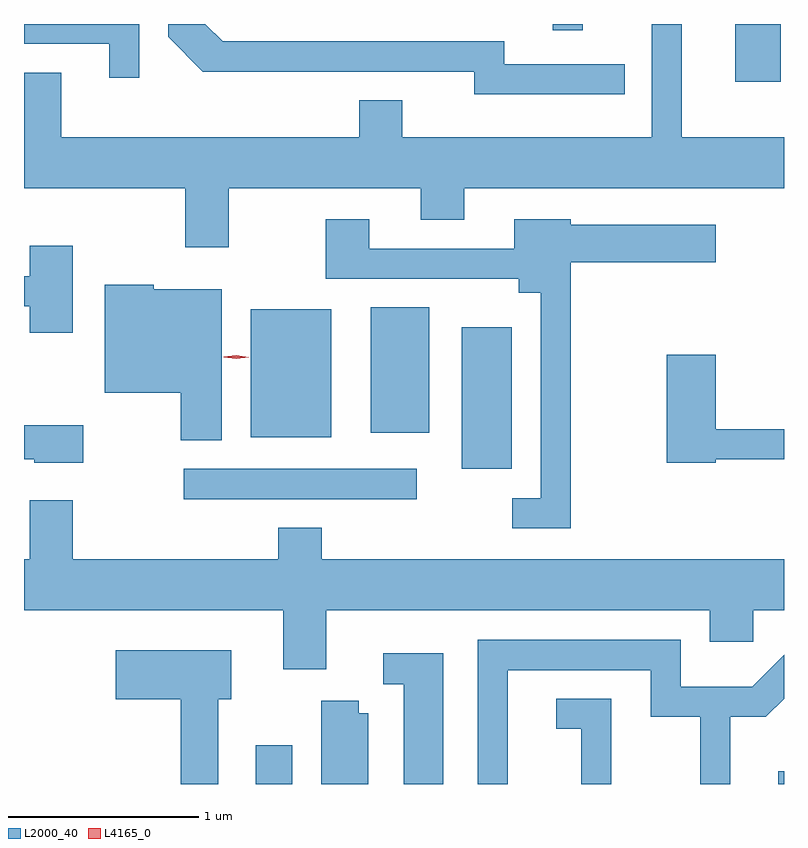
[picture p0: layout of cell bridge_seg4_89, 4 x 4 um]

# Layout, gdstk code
import gdstk
lib = gdstk.Library(unit=1e-6, precision=1e-09)
def R(c, l, rs):  # rectangles x0, y0, x1, y1
    for r in rs: c.add(gdstk.rectangle(r[:2], r[2:], *l))
def P(c, l, *ps):  # polygons
    for p in ps: c.add(gdstk.Polygon(p, *l))
L2000_40 = (2000, 40)
L4165_0 = (4165, 0)

bridge_seg4_89 = lib.new_cell('bridge_seg4_89')
R(bridge_seg4_89, L2000_40, [(1109.611,1338.221,1109.804,1338.424), (1112.361,1338.221,1112.392,1338.289), (1109.233,1339.721,1110.458,1339.879), (1110.696,1339.881,1110.959,1340.624), (1109.586,1340.046,1110.009,1340.719), (1110.216,1340.071,1110.524,1340.729), (1112.136,1341.916,1112.374,1342.221), (1111.176,1342.188,1111.334,1342.221)])
P(bridge_seg4_89, L2000_40, [(1109.469,1341.356),(1110.481,1341.356),(1110.481,1341.191),(1110.709,1341.191),(1110.709,1341.356),(1112.392,1341.356),(1112.392,1341.624),(1111.854,1341.624),(1111.854,1342.221),(1111.696,1342.221),(1111.696,1341.624),(1110.384,1341.624),(1110.384,1341.819),(1110.156,1341.819),(1110.156,1341.624),(1108.589,1341.624),(1108.589,1341.964),(1108.392,1341.964),(1108.392,1341.356),(1109.241,1341.356),(1109.241,1341.046),(1109.469,1341.046)],
  [(1108.999,1342.221),(1108.392,1342.221),(1108.392,1342.116),(1108.841,1342.116),(1108.841,1341.938),(1108.999,1341.938)],
  [(1111.553,1342.009),(1110.919,1342.009),(1110.919,1342.129),(1109.437,1342.129),(1109.345,1342.221),(1109.151,1342.221),(1109.151,1342.154),(1109.334,1341.971),(1110.761,1341.971),(1110.761,1341.851),(1111.553,1341.851)],
  [(1111.269,1340.966),(1112.034,1340.966),(1112.034,1341.164),(1111.269,1341.164),(1111.269,1341.194),(1110.971,1341.194),(1110.971,1341.039),(1110.209,1341.039),(1110.209,1341.194),(1109.981,1341.194),(1109.981,1340.881),(1110.996,1340.881),(1110.996,1340.806),(1111.111,1340.806),(1111.111,1339.724),(1110.963,1339.724),(1110.963,1339.566),(1111.269,1339.566)],
  [(1108.649,1341.054),(1108.421,1341.054),(1108.421,1340.894),(1108.392,1340.894),(1108.392,1340.736),(1108.421,1340.736),(1108.421,1340.596),(1108.649,1340.596)],
  [(1109.434,1340.824),(1109.074,1340.824),(1109.074,1340.849),(1108.816,1340.849),(1108.816,1340.281),(1109.216,1340.281),(1109.216,1340.031),(1109.434,1340.031)],
  [(1112.034,1339.931),(1112.392,1339.931),(1112.392,1340.089),(1112.034,1340.089),(1112.034,1340.479),(1111.776,1340.479),(1111.776,1339.911),(1112.034,1339.911)],
  [(1108.704,1340.109),(1108.392,1340.109),(1108.392,1339.931),(1108.446,1339.931),(1108.446,1339.911),(1108.704,1339.911)],
  [(1109.984,1339.136),(1112.001,1339.136),(1112.001,1338.971),(1112.229,1338.971),(1112.229,1339.136),(1112.392,1339.136),(1112.392,1339.404),(1109.959,1339.404),(1109.959,1339.569),(1109.731,1339.569),(1109.731,1339.404),(1108.649,1339.404),(1108.649,1339.714),(1108.421,1339.714),(1108.421,1339.404),(1108.392,1339.404),(1108.392,1339.136),(1109.756,1339.136),(1109.756,1338.826),(1109.984,1338.826)],
  [(1110.939,1338.821),(1111.691,1338.821),(1111.691,1338.576),(1111.951,1338.576),(1111.951,1338.221),(1112.109,1338.221),(1112.109,1338.576),(1112.297,1338.576),(1112.392,1338.671),(1112.392,1338.902),(1112.224,1338.734),(1111.849,1338.734),(1111.849,1338.979),(1110.781,1338.979),(1110.781,1338.221),(1110.939,1338.221)],
  [(1109.414,1338.666),(1109.484,1338.666),(1109.484,1338.924),(1108.876,1338.924),(1108.876,1338.666),(1109.216,1338.666),(1109.216,1338.221),(1109.414,1338.221)],
  [(1110.599,1338.909),(1110.283,1338.909),(1110.283,1338.746),(1110.391,1338.746),(1110.391,1338.221),(1110.599,1338.221)],
  [(1111.484,1338.669),(1111.193,1338.669),(1111.193,1338.511),(1111.326,1338.511),(1111.326,1338.221),(1111.484,1338.221)],
  [(1110.204,1338.594),(1110.154,1338.594),(1110.154,1338.659),(1109.956,1338.659),(1109.956,1338.221),(1110.204,1338.221)])
P(bridge_seg4_89, L4165_0, [(1109.51,1340.458),(1109.444,1340.468),(1109.444,1340.468),(1109.444,1340.469),(1109.51,1340.477),(1109.576,1340.467),(1109.576,1340.467),(1109.576,1340.466)])

lib.write_gds('bridge_seg4_89.gds')
